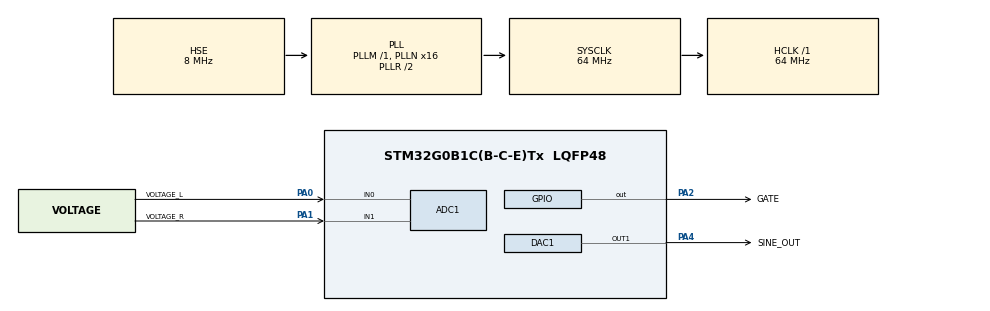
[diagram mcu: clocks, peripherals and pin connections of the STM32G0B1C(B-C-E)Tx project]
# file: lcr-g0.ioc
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ADC1.Channel-0\#ChannelRegularConversion=ADC_CHANNEL_0
ADC1.Channel-1\#ChannelRegularConversion=ADC_CHANNEL_1
ADC1.ContinuousConvMode=ENABLE
ADC1.DMAContinuousRequests=ENABLE
ADC1.EOCSelection=ADC_EOC_SEQ_CONV
ADC1.ExternalTrigConv=ADC_EXTERNALTRIG_T15_TRGO
ADC1.NbrOfConversion=2
ADC1.NbrOfConversionFlag=1
ADC1.Rank-0\#ChannelRegularConversion=1
ADC1.Rank-1\#ChannelRegularConversion=2
ADC1.SamplingTime-0\#ChannelRegularConversion=ADC_SAMPLINGTIME_COMMON_1
ADC1.SamplingTime-1\#ChannelRegularConversion=ADC_SAMPLINGTIME_COMMON_1
ADC1.SelectedChannel=ADC_CHANNEL_0|ADC_CHANNEL_1
ADC1.master=1
DAC1.DAC_Channel-DAC_OUT1=DAC_CHANNEL_1
DAC1.DAC_Trigger-DAC_OUT1=DAC_TRIGGER_T15_TRGO
Dma.ADC1.0.Direction=DMA_PERIPH_TO_MEMORY
Dma.ADC1.0.EventEnable=DISABLE
Dma.ADC1.0.Instance=DMA1_Channel1
Dma.ADC1.0.MemDataAlignment=DMA_MDATAALIGN_HALFWORD
Dma.ADC1.0.MemInc=DMA_MINC_ENABLE
Dma.ADC1.0.Mode=DMA_CIRCULAR
Dma.ADC1.0.PeriphDataAlignment=DMA_PDATAALIGN_HALFWORD
Dma.ADC1.0.PeriphInc=DMA_PINC_DISABLE
Dma.ADC1.0.Polarity=HAL_DMAMUX_REQ_GEN_RISING
Dma.ADC1.0.Priority=DMA_PRIORITY_HIGH
Dma.ADC1.0.RequestNumber=1
Dma.ADC1.0.SignalID=NONE
Dma.ADC1.0.SyncEnable=DISABLE
Dma.ADC1.0.SyncPolarity=HAL_DMAMUX_SYNC_NO_EVENT
Dma.ADC1.0.SyncRequestNumber=1
Dma.ADC1.0.SyncSignalID=NONE
Dma.DAC1_CH1.1.Direction=DMA_MEMORY_TO_PERIPH
Dma.DAC1_CH1.1.EventEnable=DISABLE
Dma.DAC1_CH1.1.Instance=DMA1_Channel2
Dma.DAC1_CH1.1.MemDataAlignment=DMA_MDATAALIGN_HALFWORD
Dma.DAC1_CH1.1.MemInc=DMA_MINC_ENABLE
Dma.DAC1_CH1.1.Mode=DMA_CIRCULAR
Dma.DAC1_CH1.1.PeriphDataAlignment=DMA_PDATAALIGN_HALFWORD
Dma.DAC1_CH1.1.PeriphInc=DMA_PINC_DISABLE
Dma.DAC1_CH1.1.Polarity=HAL_DMAMUX_REQ_GEN_RISING
Dma.DAC1_CH1.1.Priority=DMA_PRIORITY_VERY_HIGH
Dma.DAC1_CH1.1.RequestNumber=1
Dma.DAC1_CH1.1.SignalID=NONE
Dma.DAC1_CH1.1.SyncEnable=DISABLE
Dma.DAC1_CH1.1.SyncPolarity=HAL_DMAMUX_SYNC_NO_EVENT
Dma.DAC1_CH1.1.SyncRequestNumber=1
Dma.DAC1_CH1.1.SyncSignalID=NONE
Dma.Request0=ADC1
Dma.Request1=DAC1_CH1
Mcu.Family=STM32G0
Mcu.Name=STM32G0B1C(B-C-E)Tx
Mcu.Package=LQFP48
NVIC.ADC1_COMP_IRQn=true\:3\:0\:true\:false\:true\:true\:true\:true
NVIC.DMA1_Channel1_IRQn=true\:3\:0\:true\:false\:true\:false\:true\:true
NVIC.DMA1_Channel2_3_IRQn=true\:0\:0\:false\:false\:true\:false\:true\:true
PA0.GPIO_Label=VOLTAGE_L
PA0.Mode=IN0
PA0.Signal=ADC1_IN0
PA1.GPIO_Label=VOLTAGE_R
PA1.Mode=IN1
PA1.Signal=ADC1_IN1
PA2.GPIO_Label=GATE
PA2.GPIO_PuPd=GPIO_PULLDOWN
PA2.Signal=GPIO_Output
PA4.GPIO_Label=SINE_OUT
PA4.Signal=COMP_DAC11_group
PF0-OSC_IN\ (PF0).Mode=HSE-External-Oscillator
PF0-OSC_IN\ (PF0).Signal=RCC_OSC_IN
PF1-OSC_OUT\ (PF1).Mode=HSE-External-Oscillator
PF1-OSC_OUT\ (PF1).Signal=RCC_OSC_OUT
ProjectManager.HeapSize=0x200
ProjectManager.StackSize=0x400
ProjectManager.TargetToolchain=CMake
RCC.ADCFreq_Value=64000000
RCC.AHBFreq_Value=64000000
RCC.CortexFreq_Value=64000000
RCC.EXTERNAL_CLOCK_VALUE=48000
RCC.HCLKFreq_Value=64000000
RCC.HSE_VALUE=8000000
RCC.HSI48_VALUE=48000000
RCC.HSI_VALUE=16000000
RCC.LSE_VALUE=32768
RCC.PLLN=16
RCC.PLLSourceVirtual=RCC_PLLSOURCE_HSE
RCC.SYSCLKFreq_VALUE=64000000
RCC.SYSCLKSource=RCC_SYSCLKSOURCE_PLLCLK
RCC.USBFreq_Value=48000000
RCC.VCOOutputFreq_Value=128000000
SH.COMP_DAC11_group.0=DAC1_OUT1,DAC_OUT1
TIM15.Period=13
TIM15.Prescaler=1
TIM15.TIM_MasterOutputTrigger=TIM_TRGO_UPDATE
TIM2.Prescaler=63
VP_SYS_VS_DBSignals.Mode=DisableDeadBatterySignals
VP_TIM15_VS_ClockSourceINT.Mode=Internal
VP_TIM2_VS_ClockSourceINT.Mode=Internal
board=custom

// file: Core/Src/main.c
/* USER CODE BEGIN Header */
/**
  ******************************************************************************
  * @file           : main.c
  * @brief          : Main program body
  ******************************************************************************
  * @attention
  *
  * Copyright (c) 2025 STMicroelectronics.
  * All rights reserved.
  *
  * This software is licensed under terms that can be found in the LICENSE file
  * in the root directory of this software component.
  * If no LICENSE file comes with this software, it is provided AS-IS.
  *
  ******************************************************************************
  */
/* USER CODE END Header */
#include "main.h"

ADC_HandleTypeDef hadc1;
DMA_HandleTypeDef hdma_adc1;

DAC_HandleTypeDef hdac1;
DMA_HandleTypeDef hdma_dac1_ch1;

TIM_HandleTypeDef htim2;
TIM_HandleTypeDef htim15;

void        SystemClock_Config(void);
static void MX_GPIO_Init(void);
static void MX_DMA_Init(void);
static void MX_ADC1_Init(void);
static void MX_TIM15_Init(void);
static void MX_DAC1_Init(void);
static void MX_TIM2_Init(void);

/* USER CODE BEGIN 0 */

#include <stdlib.h>
#include <fastmath.h>
#include <stdbool.h>

#define DAC_TIM TIM15

#define MEASUREMENT_POINT_COUNT (0xFFFFFFFF / 4095)
#define ADC_CHUNK_SIZE 65536
#define ADC_CHUNK_COUNT (2 * (MEASUREMENT_POINT_COUNT / ADC_CHUNK_SIZE))

#define ADC_TO_VOLTAGE(n) ((3.3 * (ADC_SENSE_ ## n ## _R1_OHMS + ADC_SENSE_ ## n ## _R2_OHMS)) / (4095 * ADC_SENSE_ ## n ## _R2_OHMS))

#define ADC_SENSE_GND_R1_OHMS 10000.0
#define ADC_SENSE_GND_R2_OHMS 4700.0
#define ADC_SENSE_GND_ADC_TO_VOLTAGE ADC_TO_VOLTAGE(GND)

#define ADC_SENSE_R_R1_OHMS 10000.0
#define ADC_SENSE_R_R2_OHMS 4700.0
#define ADC_SENSE_R_ADC_TO_VOLTAGE ADC_TO_VOLTAGE(R)

#define ADC_SENSE_L_R1_OHMS 10000.0
#define ADC_SENSE_L_R2_OHMS 4700.0
#define ADC_SENSE_L_ADC_TO_VOLTAGE ADC_TO_VOLTAGE(L)

#define ADC_SENSE_L_R_OHMS 10.0

#define MAX_POINTS 512
#define MIN_POINTS 4

uint16_t *gDacBuf;

uint16_t gAdcBuf[ADC_CHUNK_SIZE];
double   gAdcAdcToVoltageFactor = 0;
double   gAdcSum                = 0;
uint16_t gAdcChunksProcessed    = 0;
bool     gAdcIsComplete         = false;

void generateSine(int pPoints)
{
    gDacBuf = malloc(sizeof(uint16_t) * pPoints);

    double step = 2 * M_PI / pPoints;
    for (int i = 0; i < pPoints; ++i)
    {
        gDacBuf[i] = (uint16_t) (4095 / 2.0 * (sin(i * step) + 1));
    }
}

void setupAdc(uint32_t pChannel)
{
    ADC_ChannelConfTypeDef sConfig = {0};

    hadc1.Instance                   = ADC1;
    hadc1.Init.ClockPrescaler        = ADC_CLOCK_SYNC_PCLK_DIV2;
    hadc1.Init.Resolution            = ADC_RESOLUTION_12B;
    hadc1.Init.DataAlign             = ADC_DATAALIGN_RIGHT;
    hadc1.Init.ScanConvMode          = ADC_SCAN_ENABLE;
    hadc1.Init.EOCSelection          = ADC_EOC_SEQ_CONV;
    hadc1.Init.LowPowerAutoWait      = DISABLE;
    hadc1.Init.LowPowerAutoPowerOff  = DISABLE;
    hadc1.Init.ContinuousConvMode    = ENABLE;
    hadc1.Init.NbrOfConversion       = 2;
    hadc1.Init.ExternalTrigConv      = ADC_EXTERNALTRIG_T15_TRGO;
    hadc1.Init.ExternalTrigConvEdge  = ADC_EXTERNALTRIGCONVEDGE_RISING;
    hadc1.Init.DMAContinuousRequests = ENABLE;
    hadc1.Init.Overrun               = ADC_OVR_DATA_PRESERVED;
    hadc1.Init.SamplingTimeCommon1   = ADC_SAMPLETIME_1CYCLE_5;
    hadc1.Init.SamplingTimeCommon2   = ADC_SAMPLETIME_1CYCLE_5;
    hadc1.Init.OversamplingMode      = DISABLE;
    hadc1.Init.TriggerFrequencyMode  = ADC_TRIGGER_FREQ_HIGH;
    if (HAL_ADC_Init(&hadc1) != HAL_OK)
    {
        Error_Handler();
    }

    sConfig.Channel      = pChannel;
    sConfig.Rank         = ADC_REGULAR_RANK_1;
    sConfig.SamplingTime = ADC_SAMPLINGTIME_COMMON_1;
    if (HAL_ADC_ConfigChannel(&hadc1, &sConfig) != HAL_OK)
    {
        Error_Handler();
    }

    sConfig.Channel      = ADC_CHANNEL_2;
    sConfig.Rank         = ADC_REGULAR_RANK_2;
    sConfig.SamplingTime = ADC_SAMPLINGTIME_COMMON_1;
    if (HAL_ADC_ConfigChannel(&hadc1, &sConfig) != HAL_OK)
    {
        Error_Handler();
    }
}

#define gateOn() HAL_GPIO_WritePin(GATE_GPIO_Port, GATE_Pin, 1)
#define gateOff() HAL_GPIO_WritePin(GATE_GPIO_Port, GATE_Pin, 0)

double measure(double *pInductancesArr)
{
    double inductanceSum = 0;
    double timFreq       = (double) SystemCoreClock / ((double) (DAC_TIM->ARR + 1) * (float) (DAC_TIM->PSC + 1));

    int i = 0;
    for (int points = MAX_POINTS; points >= MIN_POINTS; points >>= 1, i++)
    {
        gateOn();
        HAL_Delay(100);

        generateSine(points);
        HAL_DAC_Start_DMA(&hdac1, DAC_CHANNEL_1, (uint32_t *) gDacBuf, points, DAC_ALIGN_12B_R);

        // measure RMS voltage of resistor (input voltage)
        setupAdc(ADC_CHANNEL_0);

        gAdcChunksProcessed    = 0;
        gAdcSum                = 0;
        gAdcAdcToVoltageFactor = ADC_SENSE_R_ADC_TO_VOLTAGE;
        HAL_ADC_Start_DMA(&hadc1, gAdcBuf, ADC_CHUNK_SIZE);

        while (true)
        {
            if (gAdcIsComplete)
            {
                break;
            }
        }

        double voltageResistorRms = sqrt(gAdcSum / (double) (ADC_CHUNK_SIZE / 2));

        // measure RMS voltage of inductor (output voltage)
        setupAdc(ADC_CHANNEL_1);

        gAdcChunksProcessed    = 0;
        gAdcSum                = 0;
        gAdcAdcToVoltageFactor = ADC_SENSE_L_ADC_TO_VOLTAGE;

        HAL_ADC_Start_DMA(&hadc1, gAdcBuf, ADC_CHUNK_SIZE);

        while (true)
        {
            if (gAdcIsComplete)
            {
                break;
            }
        }

        double voltageInductorRms = sqrt(gAdcSum / (double) (ADC_CHUNK_SIZE / 2));
        double frequency          = timFreq / (double) points;
        double w                  = M_TWOPI * frequency;
        double inductance         = voltageInductorRms * ADC_SENSE_L_R_OHMS / (w * sqrt(voltageResistorRms * voltageResistorRms - voltageInductorRms * voltageInductorRms));

        pInductancesArr[i] = inductance;
        inductanceSum += inductance;

        // ReSharper disable once CppDFADeletedPointer
        free(gDacBuf);

        gateOff();
        HAL_Delay(100);
    }

    double averageInductance = inductanceSum / i;
    return averageInductance;
}

void HAL_ADC_ConvCpltCallback(ADC_HandleTypeDef *hadc)
{
    TIM2->CNT = 0;

    register double stackVoltageFactor = gAdcAdcToVoltageFactor;
    for (int i = 0; i < ADC_CHUNK_SIZE; i += 2)
    {
        gAdcSum += gAdcBuf[i] * stackVoltageFactor - gAdcBuf[1] * ADC_SENSE_GND_ADC_TO_VOLTAGE;
    }

    uint32_t us = TIM2->CNT;
    if (us > 26200)
    {
        Error_Handler();
    }

    gAdcChunksProcessed++;
    if (gAdcChunksProcessed >= ADC_CHUNK_COUNT)
    {
        HAL_ADC_Stop_DMA(&hadc1);
    }
}

/* USER CODE END 0 */

int main(void)
{

    /* MCU Configuration--------------------------------------------------------*/

    /* Reset of all peripherals, Initializes the Flash interface and the Systick. */
    HAL_Init();

    /* Configure the system clock */
    SystemClock_Config();

    /* Initialize all configured peripherals */
    MX_GPIO_Init();
    MX_DMA_Init();
    MX_ADC1_Init();
    MX_TIM15_Init();
    MX_DAC1_Init();
    MX_TIM2_Init();
    /* USER CODE BEGIN 2 */

    HAL_TIM_Base_Start(&htim2);
    HAL_TIM_Base_Start(&htim15);

    double inductances[10] = {0};
    double inductance      = measure(inductances);

    /* USER CODE END 2 */

    /* Infinite loop */
    while (1)
    {

    }
}

void SystemClock_Config(void)
{
    RCC_OscInitTypeDef RCC_OscInitStruct = {0};
    RCC_ClkInitTypeDef RCC_ClkInitStruct = {0};

    /** Configure the main internal regulator output voltage
    */
    HAL_PWREx_ControlVoltageScaling(PWR_REGULATOR_VOLTAGE_SCALE1);

    /** Initializes the RCC Oscillators according to the specified parameters
    * in the RCC_OscInitTypeDef structure.
    */
    RCC_OscInitStruct.OscillatorType = RCC_OSCILLATORTYPE_HSE;
    RCC_OscInitStruct.HSEState       = RCC_HSE_ON;
    RCC_OscInitStruct.PLL.PLLState   = RCC_PLL_ON;
    RCC_OscInitStruct.PLL.PLLSource  = RCC_PLLSOURCE_HSE;
    RCC_OscInitStruct.PLL.PLLM       = RCC_PLLM_DIV1;
    RCC_OscInitStruct.PLL.PLLN       = 16;
    RCC_OscInitStruct.PLL.PLLP       = RCC_PLLP_DIV2;
    RCC_OscInitStruct.PLL.PLLQ       = RCC_PLLQ_DIV2;
    RCC_OscInitStruct.PLL.PLLR       = RCC_PLLR_DIV2;
    if (HAL_RCC_OscConfig(&RCC_OscInitStruct) != HAL_OK)
    {
        Error_Handler();
    }

    /** Initializes the CPU, AHB and APB buses clocks
    */
    RCC_ClkInitStruct.ClockType = RCC_CLOCKTYPE_HCLK | RCC_CLOCKTYPE_SYSCLK
                                  | RCC_CLOCKTYPE_PCLK1;
    RCC_ClkInitStruct.SYSCLKSource   = RCC_SYSCLKSOURCE_PLLCLK;
    RCC_ClkInitStruct.AHBCLKDivider  = RCC_SYSCLK_DIV1;
    RCC_ClkInitStruct.APB1CLKDivider = RCC_HCLK_DIV1;

    if (HAL_RCC_ClockConfig(&RCC_ClkInitStruct, FLASH_LATENCY_2) != HAL_OK)
    {
        Error_Handler();
    }
}

static void MX_ADC1_Init(void)
{

    ADC_ChannelConfTypeDef sConfig = {0};

    /** Configure the global features of the ADC (Clock, Resolution, Data Alignment and number of conversion)
    */
    hadc1.Instance                   = ADC1;
    hadc1.Init.ClockPrescaler        = ADC_CLOCK_SYNC_PCLK_DIV2;
    hadc1.Init.Resolution            = ADC_RESOLUTION_12B;
    hadc1.Init.DataAlign             = ADC_DATAALIGN_RIGHT;
    hadc1.Init.ScanConvMode          = ADC_SCAN_ENABLE;
    hadc1.Init.EOCSelection          = ADC_EOC_SEQ_CONV;
    hadc1.Init.LowPowerAutoWait      = DISABLE;
    hadc1.Init.LowPowerAutoPowerOff  = DISABLE;
    hadc1.Init.ContinuousConvMode    = ENABLE;
    hadc1.Init.NbrOfConversion       = 2;
    hadc1.Init.ExternalTrigConv      = ADC_EXTERNALTRIG_T15_TRGO;
    hadc1.Init.ExternalTrigConvEdge  = ADC_EXTERNALTRIGCONVEDGE_RISING;
    hadc1.Init.DMAContinuousRequests = ENABLE;
    hadc1.Init.Overrun               = ADC_OVR_DATA_PRESERVED;
    hadc1.Init.SamplingTimeCommon1   = ADC_SAMPLETIME_1CYCLE_5;
    hadc1.Init.SamplingTimeCommon2   = ADC_SAMPLETIME_1CYCLE_5;
    hadc1.Init.OversamplingMode      = DISABLE;
    hadc1.Init.TriggerFrequencyMode  = ADC_TRIGGER_FREQ_HIGH;
    if (HAL_ADC_Init(&hadc1) != HAL_OK)
    {
        Error_Handler();
    }

    /** Configure Regular Channel
    */
    sConfig.Channel      = ADC_CHANNEL_0;
    sConfig.Rank         = ADC_REGULAR_RANK_1;
    sConfig.SamplingTime = ADC_SAMPLINGTIME_COMMON_1;
    if (HAL_ADC_ConfigChannel(&hadc1, &sConfig) != HAL_OK)
    {
        Error_Handler();
    }

    /** Configure Regular Channel
    */
    sConfig.Channel = ADC_CHANNEL_1;
    sConfig.Rank    = ADC_REGULAR_RANK_2;
    if (HAL_ADC_ConfigChannel(&hadc1, &sConfig) != HAL_OK)
    {
        Error_Handler();
    }
}

static void MX_DAC1_Init(void)
{

    DAC_ChannelConfTypeDef sConfig = {0};

    /** DAC Initialization
    */
    hdac1.Instance = DAC1;
    if (HAL_DAC_Init(&hdac1) != HAL_OK)
    {
        Error_Handler();
    }

    /** DAC channel OUT1 config
    */
    sConfig.DAC_SampleAndHold           = DAC_SAMPLEANDHOLD_DISABLE;
    sConfig.DAC_Trigger                 = DAC_TRIGGER_T15_TRGO;
    sConfig.DAC_OutputBuffer            = DAC_OUTPUTBUFFER_ENABLE;
    sConfig.DAC_ConnectOnChipPeripheral = DAC_CHIPCONNECT_DISABLE;
    sConfig.DAC_UserTrimming            = DAC_TRIMMING_FACTORY;
    if (HAL_DAC_ConfigChannel(&hdac1, &sConfig, DAC_CHANNEL_1) != HAL_OK)
    {
        Error_Handler();
    }
}

static void MX_TIM2_Init(void)
{

    TIM_ClockConfigTypeDef  sClockSourceConfig = {0};
    TIM_MasterConfigTypeDef sMasterConfig      = {0};

    htim2.Instance               = TIM2;
    htim2.Init.Prescaler         = 63;
    htim2.Init.CounterMode       = TIM_COUNTERMODE_UP;
    htim2.Init.Period            = 4294967295;
    htim2.Init.ClockDivision     = TIM_CLOCKDIVISION_DIV1;
    htim2.Init.AutoReloadPreload = TIM_AUTORELOAD_PRELOAD_DISABLE;
    if (HAL_TIM_Base_Init(&htim2) != HAL_OK)
    {
        Error_Handler();
    }
    sClockSourceConfig.ClockSource = TIM_CLOCKSOURCE_INTERNAL;
    if (HAL_TIM_ConfigClockSource(&htim2, &sClockSourceConfig) != HAL_OK)
    {
        Error_Handler();
    }
    sMasterConfig.MasterOutputTrigger = TIM_TRGO_RESET;
    sMasterConfig.MasterSlaveMode     = TIM_MASTERSLAVEMODE_DISABLE;
    if (HAL_TIMEx_MasterConfigSynchronization(&htim2, &sMasterConfig) != HAL_OK)
    {
        Error_Handler();
    }
}

static void MX_TIM15_Init(void)
{

    TIM_ClockConfigTypeDef  sClockSourceConfig = {0};
    TIM_MasterConfigTypeDef sMasterConfig      = {0};

    htim15.Instance               = TIM15;
    htim15.Init.Prescaler         = 1;
    htim15.Init.CounterMode       = TIM_COUNTERMODE_UP;
    htim15.Init.Period            = 13;
    htim15.Init.ClockDivision     = TIM_CLOCKDIVISION_DIV1;
    htim15.Init.RepetitionCounter = 0;
    htim15.Init.AutoReloadPreload = TIM_AUTORELOAD_PRELOAD_DISABLE;
    if (HAL_TIM_Base_Init(&htim15) != HAL_OK)
    {
        Error_Handler();
    }
    sClockSourceConfig.ClockSource = TIM_CLOCKSOURCE_INTERNAL;
    if (HAL_TIM_ConfigClockSource(&htim15, &sClockSourceConfig) != HAL_OK)
    {
        Error_Handler();
    }
    sMasterConfig.MasterOutputTrigger = TIM_TRGO_UPDATE;
    sMasterConfig.MasterSlaveMode     = TIM_MASTERSLAVEMODE_DISABLE;
    if (HAL_TIMEx_MasterConfigSynchronization(&htim15, &sMasterConfig) != HAL_OK)
    {
        Error_Handler();
    }
}

static void MX_DMA_Init(void)
{
    /* DMA controller clock enable */
    __HAL_RCC_DMA1_CLK_ENABLE();

    /* DMA interrupt init */
    /* DMA1_Channel1_IRQn interrupt configuration */
    HAL_NVIC_SetPriority(DMA1_Channel1_IRQn, 3, 0);
    HAL_NVIC_EnableIRQ(DMA1_Channel1_IRQn);
    /* DMA1_Channel2_3_IRQn interrupt configuration */
    HAL_NVIC_SetPriority(DMA1_Channel2_3_IRQn, 0, 0);
    HAL_NVIC_EnableIRQ(DMA1_Channel2_3_IRQn);
}

static void MX_GPIO_Init(void)
{
    GPIO_InitTypeDef GPIO_InitStruct = {0};

    /* GPIO Ports Clock Enable */
    __HAL_RCC_GPIOF_CLK_ENABLE();
    __HAL_RCC_GPIOA_CLK_ENABLE();

    /*Configure GPIO pin Output Level */
    HAL_GPIO_WritePin(GATE_GPIO_Port, GATE_Pin, GPIO_PIN_RESET);

    /*Configure GPIO pin : GATE_Pin */
    GPIO_InitStruct.Pin   = GATE_Pin;
    GPIO_InitStruct.Mode  = GPIO_MODE_OUTPUT_PP;
    GPIO_InitStruct.Pull  = GPIO_PULLDOWN;
    GPIO_InitStruct.Speed = GPIO_SPEED_FREQ_LOW;
    HAL_GPIO_Init(GATE_GPIO_Port, &GPIO_InitStruct);

}

void Error_Handler(void)
{
    __disable_irq();
    while (1)
    {
    }
}
